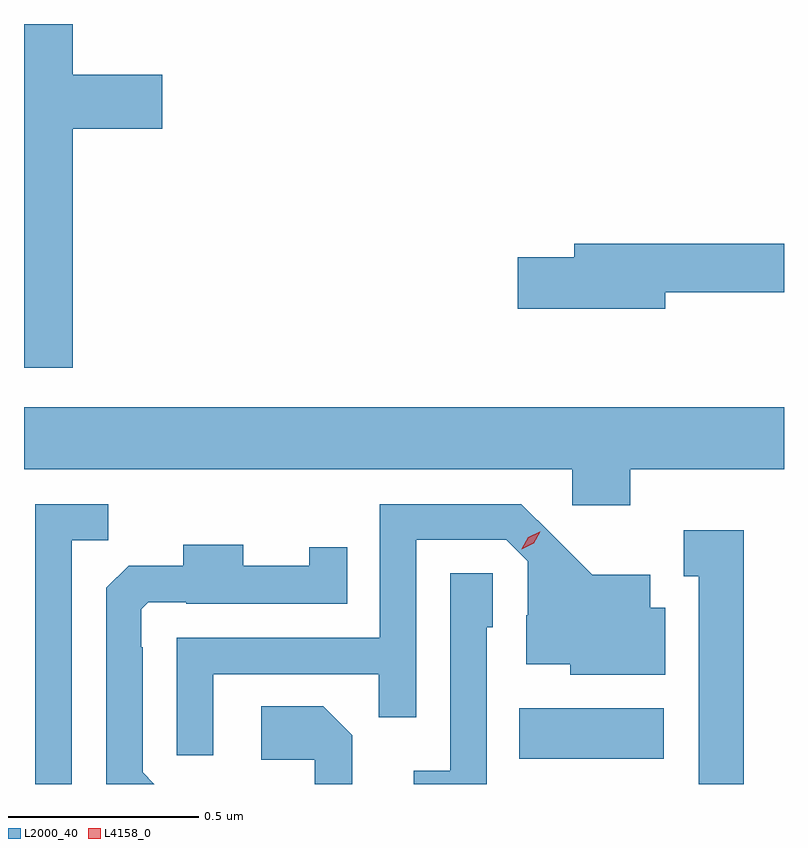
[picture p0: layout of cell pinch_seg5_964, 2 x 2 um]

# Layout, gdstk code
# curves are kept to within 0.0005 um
import gdstk
lib = gdstk.Library(unit=1e-6, precision=1e-09)
def R(c, l, rs):  # rectangles x0, y0, x1, y1
    for r in rs: c.add(gdstk.rectangle(r[:2], r[2:], *l))
def P(c, l, *ps):  # polygons
    for p in ps: c.add(gdstk.Polygon(p, *l))
L2000_40 = (2000, 40)
L4158_0 = (4158, 0)

pinch_seg5_964 = lib.new_cell('pinch_seg5_964')
R(pinch_seg5_964, L2000_40, [(684.598,894.626,684.979,894.76)])
P(pinch_seg5_964, L2000_40, [(683.423,896.285),(683.659,896.285),(683.659,896.427),(683.423,896.427),(683.423,896.56),(683.295,896.56),(683.295,895.656),(683.423,895.656)],
  [(684.982,895.854),(685.295,895.854),(685.295,895.982),(684.743,895.982),(684.743,895.946),(684.594,895.946),(684.594,895.811),(684.982,895.811)],
  [(684.89,895.388),(685.295,895.388),(685.295,895.552),(683.295,895.552),(683.295,895.388),(684.738,895.388),(684.738,895.293),(684.89,895.293)],
  [(683.421,895.201),(683.517,895.201),(683.517,895.296),(683.325,895.296),(683.325,894.56),(683.421,894.56)],
  [(683.793,894.849),(684.229,894.849),(684.229,894.736),(684.327,894.736),(684.327,895.203),(684.564,895.203),(684.621,895.146),(684.621,895.004),(684.617,895.004),(684.617,894.875),(684.732,894.875),(684.732,894.848),(684.982,894.848),(684.982,895.024),(684.943,895.024),(684.943,895.111),(684.791,895.111),(684.604,895.296),(684.231,895.296),(684.231,894.945),(683.697,894.945),(683.697,894.636),(683.793,894.636)],
  [(685.189,895.228),(685.031,895.228),(685.031,895.107),(685.07,895.107),(685.07,894.56),(685.189,894.56)],
  [(683.607,894.591),(683.607,894.92),(683.604,894.92),(683.604,895.02),(683.622,895.038),(683.722,895.038),(683.722,895.035),(684.146,895.035),(684.146,895.183),(684.045,895.183),(684.045,895.134),(683.872,895.134),(683.872,895.189),(683.714,895.189),(683.714,895.135),(683.57,895.135),(683.511,895.076),(683.511,894.56),(683.638,894.56)],
  [(684.513,894.972),(684.528,894.972),(684.528,895.115),(684.417,895.115),(684.417,894.595),(684.321,894.595),(684.321,894.56),(684.513,894.56)],
  [(684.159,894.688),(684.083,894.764),(683.919,894.764),(683.919,894.624),(684.06,894.624),(684.06,894.56),(684.159,894.56)])
P(pinch_seg5_964, L4158_0, [(684.605,895.178),(684.605,895.179),(684.622,895.209),(684.652,895.224),(684.653,895.224),(684.653,895.224),(684.636,895.194),(684.605,895.178)])

lib.write_gds('pinch_seg5_964.gds')
